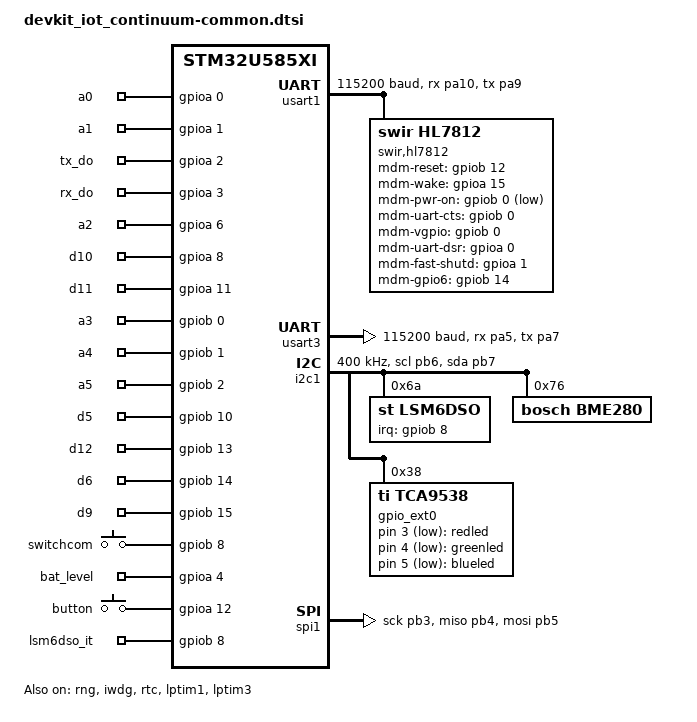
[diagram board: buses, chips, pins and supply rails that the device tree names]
/*
 * Copyright (c) 2023 Lacroix Impulse
 *
 * SPDX-License-Identifier: Apache-2.0
 */

#include <st/u5/stm32u585Xi.dtsi>
#include <st/u5/stm32u585ciux-pinctrl.dtsi>

// ALIASES SECTION
/ {
	 aliases {
		//UART ALIASES
		usart1 = &usart1;
		usart3 = &usart3;
		//I2C ALIASES
		i2c1 = &i2c1;

		//GPIO OUTPUT
		switchcom =&switchcom;

		// GPIO INPUT
		button=&button;
		
		//GPIO EXTENDER OUTPUT
		led0= &blueled;
		ledredext = &redled;
		ledgreenext = &greenled;
		ledblueext = &blueled;
	};
};

// DECLARATION SECTION

// LTE Sierra HL7812
&usart1 {
	pinctrl-0 = <&usart1_rx_pa10 &usart1_tx_pa9>;
	pinctrl-names = "default";
	current-speed = <115200>;
	status = "okay";
	swir,hl7812 {
		compatible = "swir,hl7812";
		status = "okay";
		mdm-reset-gpios = <&gpiob 12 GPIO_ACTIVE_HIGH>;
		mdm-wake-gpios = <&gpioa 15 GPIO_ACTIVE_HIGH>;
		mdm-pwr-on-gpios = <&gpiob 0 GPIO_ACTIVE_LOW>;
		mdm-uart-cts-gpios = <&gpiob 0 0>;
		mdm-vgpio-gpios = <&gpiob 0 GPIO_ACTIVE_HIGH>;
		// Following pins are required, Put unconnected pins to it
		mdm-uart-dsr-gpios = <&gpioa 0 0>;
		mdm-fast-shutd-gpios = <&gpioa 1 0>;
		mdm-gpio6-gpios = <&gpiob 14 0>;
	};
};

// Shell & Console
&usart3 {
	pinctrl-0 = <&usart3_rx_pa5 &usart3_tx_pa7>;
	pinctrl-names = "default";
	current-speed = <115200>;
	status = "okay";
};

&clk_lse {
	status = "okay";
};

&clk_msis {
	status = "okay";
	msi-range = <0>;
	msi-pll-mode;
};

&rcc {
	clocks = <&clk_msis>;
	clock-frequency = <DT_FREQ_M(48)>;
	ahb-prescaler = <1>;
	apb1-prescaler = <1>;
	apb2-prescaler = <1>;
	apb3-prescaler = <1>;
};

&rng {
	status = "okay";
};

// internal watchdog
&iwdg {
	status = "okay";
};

// I2C1: LSM6DSO (inertial sensor on 0x6a) // BME280 (temperature,humidty and pression sensor on 0x76)
//       PCA9538 (gpio expender device on 0x70) // 
&i2c1 {
	pinctrl-0 = <&i2c1_scl_pb6 &i2c1_sda_pb7>;
	pinctrl-names = "default";
	status = "okay";
	clock-frequency = <I2C_BITRATE_FAST>;
	lsm6dso@6a {
		compatible = "st,lsm6dso";
		reg = <0x6a>;
		irq-gpios = <&gpiob 8 0>;
	};
	bme280@76 {
		compatible = "bosch,bme280";
		reg = <0x76>;
	};
	gpio_ext0: pca953x@38 {
		compatible = "ti,tca9538";
		reg = <0x38>;
		gpio-controller;
		#gpio-cells = <2>;
		ngpios = <8>;
	};
};

// SPI1: Expension SPI
&spi1 {
	pinctrl-0 = <&spi1_sck_pb3 &spi1_miso_pb4 &spi1_mosi_pb5>;
	pinctrl-names = "default";
	status = "okay";
};

// RTC
&rtc {
	interrupts = <2 7>;
	status = "okay";
};

// ETOR1_LPTIMER
&lptim1 {
	status = "okay";
};

// ETOR2_LPTIMER
&lptim3 {
		status = "okay";
};

/ {
	gpio_output {
		compatible = "gpio-keys";
		// Free GPIO
		a0: GPIO_PA0 {
			gpios = < &gpioa 0 GPIO_ACTIVE_HIGH >;
		};
		a1: GPIO_PA1 {
			gpios = < &gpioa 1 GPIO_ACTIVE_HIGH >;
		};
		tx_do: GPIO_PA2 {
			gpios = < &gpioa 2 GPIO_ACTIVE_HIGH >;
		};
		rx_do: GPIO_PA3 {
			gpios = < &gpioa 3 GPIO_ACTIVE_HIGH >;
		};
		a2: GPIO_PA6 {
			gpios = < &gpioa 6 GPIO_ACTIVE_HIGH >;
		};
		d10: GPIO_PA8 {
			gpios = < &gpioa 8 GPIO_ACTIVE_HIGH >;
		};
		d11: GPIO_PA11 {
			gpios = < &gpioa 11 GPIO_ACTIVE_HIGH >;
		};
		a3: GPIO_PB0 {
			gpios = < &gpiob 0 GPIO_ACTIVE_HIGH >;
		};
		a4: GPIO_PB1 {
			gpios = < &gpiob 1 GPIO_ACTIVE_HIGH >;
		};
		a5: GPIO_PB2 {
			gpios = < &gpiob 2 GPIO_ACTIVE_HIGH >;
		};
		d5: GPIO_PB10 {
			gpios = < &gpiob 10 GPIO_ACTIVE_HIGH >;
		};
		d12: GPIO_PB13 {
			gpios = < &gpiob 13 GPIO_ACTIVE_HIGH >;
		};
		d6: GPIO_PB14 {
			gpios = < &gpiob 14 GPIO_ACTIVE_HIGH >;
		};
		d9: GPIO_PB15 {
			gpios = < &gpiob 15 GPIO_ACTIVE_HIGH >;
		};
		// Active GPIO
		switchcom: GPIO_PB8 {
			gpios = < &gpiob 8 GPIO_ACTIVE_HIGH >;
		};
	};
	leds {
		compatible = "gpio-leds";
		redled: led_0 {
			gpios = < &gpio_ext0 3 GPIO_ACTIVE_LOW >;
		};
		greenled: led_1 {
			gpios = < &gpio_ext0 4 GPIO_ACTIVE_LOW >;
		};
		blueled: led_2 {
			gpios = < &gpio_ext0 5 GPIO_ACTIVE_LOW >;
		};
	};
	gpio_input {
		compatible = "gpio-keys";
		// input gpio
		bat_level: GPIO_PA4 {
			gpios = < &gpioa 4 GPIO_ACTIVE_HIGH >;
		};
		button: GPIO_PA12 {
			gpios = < &gpioa 12 GPIO_ACTIVE_HIGH >;
		};
		lsm6dso_it: GPIO_PB8 {
			gpios = < &gpiob 8 GPIO_ACTIVE_HIGH >;
		};
	};	
};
